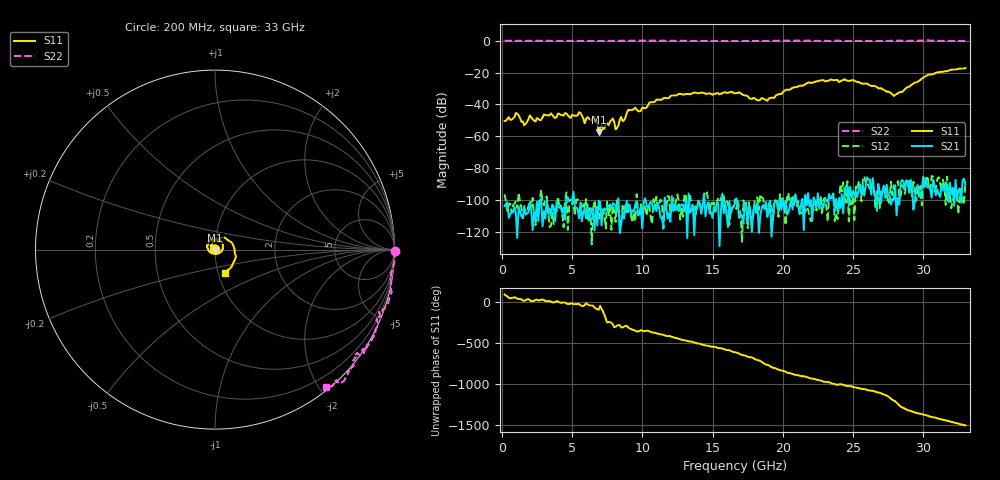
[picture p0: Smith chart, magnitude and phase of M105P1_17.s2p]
# GHZ S RI R 50
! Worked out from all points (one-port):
!   329 points, 200 MHz to 33 GHz, reference 50 ohm
!   lowest |S11| = -57.5 dB at 6.9 GHz (marker M1), VSWR 1.00, Z = 50 - j0.133 ohm
!   |S11| at or under -10 dB: start of sweep to end of sweep
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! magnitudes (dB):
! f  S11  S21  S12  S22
! 200 MHz  -50.4  -103.9  -96.5  0.0
! 1 GHz  -45.4  -108.4  -100.8  0.0
! 1.6 GHz  -53.1  -103.7  -105.5  0.0
! 2 GHz  -46.9  -101.4  -100.5  0.0
! 2.4 GHz  -50.7  -113.4  -115.7  0.0
! 3.5 GHz  -45.6  -110.0  -116.3  0.0
! 5.7 GHz  -46.9  -113.3  -104.5  -0.1
! 5.9 GHz  -51.8  -106.3  -106.0  -0.1
! 6.6 GHz  -48.0  -119.1  -100.2  -0.1
! 6.9 GHz  -57.5  -100.6  -111.6  -0.1
! 7.9 GHz  -48.9  -102.0  -103.3  0.0
! 8.1 GHz  -55.6  -103.7  -113.8  0.0
! 9 GHz  -43.4  -107.5  -102.0  0.0
! 9.8 GHz  -44.5  -108.8  -108.2  0.1
! 11.2 GHz  -36.9  -105.2  -101.9  0.1
! 16.6 GHz  -33.0  -102.0  -99.8  -0.2
! 18.9 GHz  -37.6  -110.6  -106.7  0.0
! 22.1 GHz  -26.3  -113.1  -106.2  0.0
! 25 GHz  -24.7  -94.4  -98.5  -0.2
! 27.6 GHz  -32.3  -97.1  -100.6  0.0
! 30.4 GHz  -21.1  -91.0  -91.4  0.2
! 33 GHz  -17.1  -90.4  -88.3  -0.1
